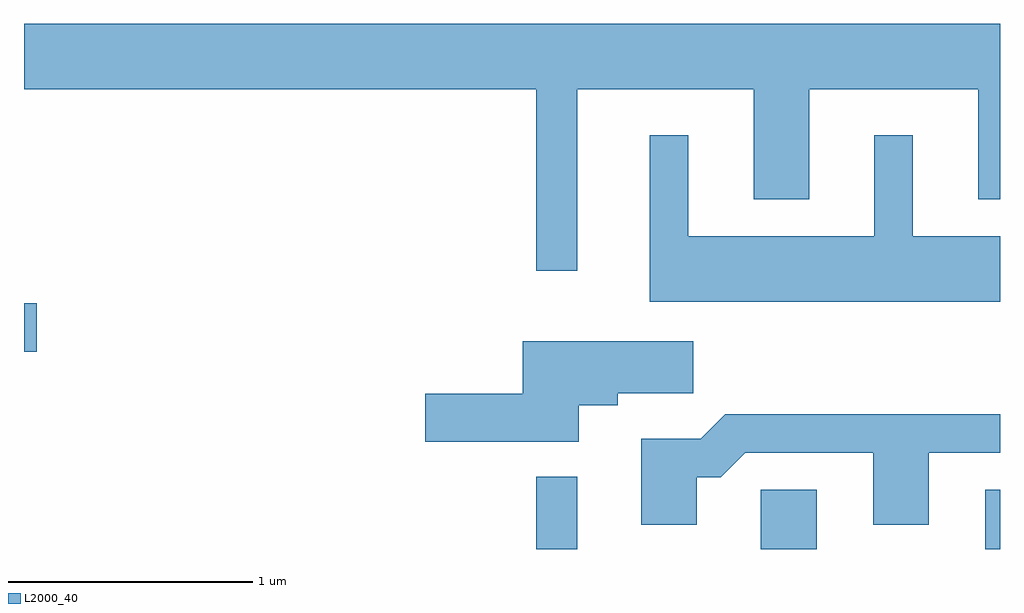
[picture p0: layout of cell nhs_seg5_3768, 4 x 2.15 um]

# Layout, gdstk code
import gdstk
lib = gdstk.Library(unit=1e-6, precision=1e-09)
def R(c, l, rs):  # rectangles x0, y0, x1, y1
    for r in rs: c.add(gdstk.rectangle(r[:2], r[2:], *l))
def P(c, l, *ps):  # polygons
    for p in ps: c.add(gdstk.Polygon(p, *l))
L2000_40 = (2000, 40)

nhs_seg5_3768 = lib.new_cell('nhs_seg5_3768')
R(nhs_seg5_3768, L2000_40, [(299.711,1406.072,299.879,1406.368), (300.631,1406.072,300.859,1406.314), (301.551,1406.072,301.611,1406.314), (297.611,1406.881,297.664,1407.079)])
P(nhs_seg5_3768, L2000_40, [(297.611,1407.956),(299.711,1407.956),(299.711,1407.213),(299.879,1407.213),(299.879,1407.956),(300.601,1407.956),(300.601,1407.506),(300.829,1407.506),(300.829,1407.956),(301.521,1407.956),(301.521,1407.506),(301.611,1407.506),(301.611,1408.224),(297.611,1408.224)],
  [(301.611,1407.354),(301.254,1407.354),(301.254,1407.768),(301.096,1407.768),(301.096,1407.354),(300.334,1407.354),(300.334,1407.768),(300.176,1407.768),(300.176,1407.086),(301.611,1407.086)],
  [(299.884,1406.661),(300.044,1406.661),(300.044,1406.711),(300.354,1406.711),(300.354,1406.924),(299.656,1406.924),(299.656,1406.709),(299.256,1406.709),(299.256,1406.511),(299.884,1406.511)],
  [(300.369,1406.366),(300.467,1406.366),(300.567,1406.466),(301.091,1406.466),(301.091,1406.171),(301.319,1406.171),(301.319,1406.466),(301.611,1406.466),(301.611,1406.624),(300.484,1406.624),(300.384,1406.524),(300.141,1406.524),(300.141,1406.171),(300.369,1406.171)])

lib.write_gds('nhs_seg5_3768.gds')
